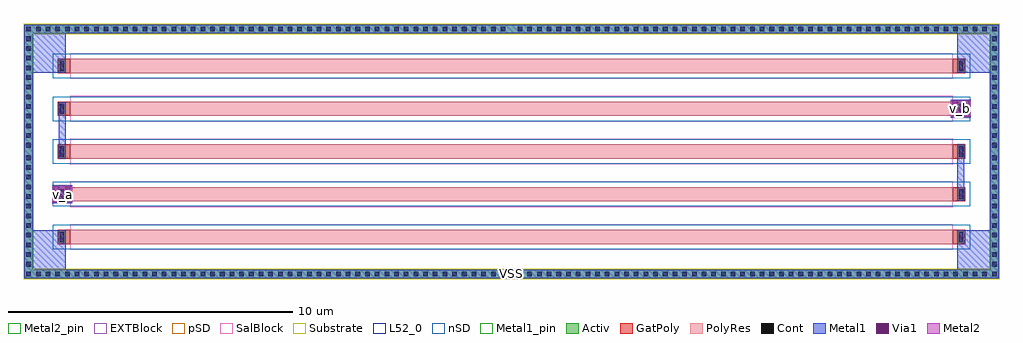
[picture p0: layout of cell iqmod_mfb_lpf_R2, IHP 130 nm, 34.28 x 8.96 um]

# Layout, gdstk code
from math import pi, radians
import gdstk
lib = gdstk.Library(unit=1e-6, precision=5e-09)
def R(c, l, rs):  # rectangles x0, y0, x1, y1
    for r in rs: c.add(gdstk.rectangle(r[:2], r[2:], *l))
def A(c, l, x, y, w, h, nx, ny, dx, dy):  # array of equal rectangles
    R(c, l, [(x+i*dx, y+j*dy, x+i*dx+w, y+j*dy+h) for i in range(nx) for j in range(ny)])
def P(c, l, *ps):  # polygons
    for p in ps: c.add(gdstk.Polygon(p, *l))
Activ = (1, 0)
GatPoly = (5, 0)
Cont = (6, 0)
nSD = (7, 0)
Metal1 = (8, 0)
Metal1_pin = (8, 2)
Metal2 = (10, 0)
Metal2_pin = (10, 2)
pSD = (14, 0)
Via1 = (19, 0)
SalBlock = (28, 0)
Substrate = (40, 0)
L52_0 = (52, 0)
EXTBlock = (111, 0)
PolyRes = (128, 0)

via_stack_1 = lib.new_cell('via_stack$1')
R(via_stack_1, Metal1, [(-0.35,-0.31,0.35,0.31)])
R(via_stack_1, Metal2, [(-0.35,-0.305,0.35,0.305)])
R(via_stack_1, Via1, [(-0.3,-0.3,-0.11,-0.11), (0.11,-0.3,0.3,-0.11), (-0.3,0.11,-0.11,0.3), (0.11,0.11,0.3,0.3)])

rhigh_3 = lib.new_cell('rhigh$3')
A(rhigh_3, GatPoly, 0, -0.43, 0.5, 0.43, 3, 2, 1.5, 31.43)
A(rhigh_3, Cont, 0.07, -0.36, 0.36, 0.16, 3, 2, 1.5, 31.56)
A(rhigh_3, nSD, -0.18, -0.61, 0.86, 0.79, 3, 2, 1.5, 31.43)
R(rhigh_3, nSD, [(-0.18,0,0.68,31), (-0.18,0,0.68,31), (1.32,0,2.18,31), (1.32,0,2.18,31), (2.82,0,3.68,31), (2.82,0,3.68,31)])
A(rhigh_3, Metal1, 0.02, -0.41, 0.46, 0.26, 3, 2, 1.5, 31.56)
R(rhigh_3, Metal1, [(1.52,-0.41,3.48,-0.15), (0.02,31.15,1.98,31.41)])
A(rhigh_3, Metal1_pin, 0.02, -0.41, 0.46, 0.26, 3, 2, 1.5, 31.56)
A(rhigh_3, pSD, -0.18, -0.61, 0.86, 0.79, 3, 2, 1.5, 31.43)
R(rhigh_3, pSD, [(-0.18,0,0.68,31), (-0.18,0,0.68,31), (1.32,0,2.18,31), (1.32,0,2.18,31), (2.82,0,3.68,31), (2.82,0,3.68,31)])
A(rhigh_3, SalBlock, -0.2, 0, 0.9, 31, 3, 1, 1.5, 0)
A(rhigh_3, L52_0, 0, 0, 0.5, 31, 3, 1, 1.5, 0)
A(rhigh_3, EXTBlock, -0.18, -0.61, 0.86, 0.79, 3, 2, 1.5, 31.43)
A(rhigh_3, EXTBlock, -0.2, 0, 0.9, 31, 3, 1, 1.5, 0)
A(rhigh_3, PolyRes, 0, 0, 0.5, 31, 3, 1, 1.5, 0)
rhigh_3.add(gdstk.Label('rhigh r=91972.174', (0.25,15.5), layer=63, texttype=0))
rhigh_3.add(gdstk.Label('rhigh r=91972.174', (0.25,15.5), layer=63, texttype=0))
rhigh_3.add(gdstk.Label('rhigh r=91972.174', (0.25,15.5), layer=63, texttype=0))
rhigh_3.add(gdstk.Label('rhigh', (0.25,15.5), layer=52, texttype=0))
rhigh_3.add(gdstk.Label('rhigh', (1.75,15.5), layer=52, texttype=0))
rhigh_3.add(gdstk.Label('rhigh', (3.25,15.5), layer=52, texttype=0))

rhigh_1 = lib.new_cell('rhigh$1')
R(rhigh_1, Activ, [(-1.2,-1.31,-0.9,32.31), (7.4,-1.31,7.7,32.31), (-1.2,32.31,7.7,32.61)])
P(rhigh_1, Activ, [(-1.2,-1.61),(-1.2,32.31),(-0.9,32.31),(-0.9,-1.31),(7.4,-1.31),(7.4,32.31),(-1.2,32.31),(-1.2,32.61),(7.7,32.61),(7.7,-1.61)])
R(rhigh_1, GatPoly, [(0,-0.43,0.5,0), (6,-0.43,6.5,0), (0,31,0.5,31.43), (6,31,6.5,31.43)])
A(rhigh_1, Cont, -1.13, -1.54, 0.16, 0.16, 13, 2, 0.34, 33.92)
A(rhigh_1, Cont, 3.39, -1.54, 0.16, 0.16, 13, 2, 0.34, 33.92)
A(rhigh_1, Cont, -1.13, -1.2, 0.16, 0.16, 1, 49, 0, 0.34)
A(rhigh_1, Cont, 7.47, -1.2, 0.16, 0.16, 1, 49, 0, 0.34)
A(rhigh_1, Cont, -1.13, 15.72, 0.16, 0.16, 1, 49, 0, 0.34)
A(rhigh_1, Cont, 7.47, 15.72, 0.16, 0.16, 1, 49, 0, 0.34)
R(rhigh_1, Cont, [(0.07,-0.36,0.43,-0.2), (6.07,-0.36,6.43,-0.2), (0.07,31.2,0.43,31.36), (6.07,31.2,6.43,31.36)])
R(rhigh_1, nSD, [(-0.18,-0.61,0.68,0.18), (5.82,-0.61,6.68,0.18), (-0.18,0,0.68,31), (-0.18,0,0.68,31), (5.82,0,6.68,31), (5.82,0,6.68,31), (-0.18,30.82,0.68,31.61), (5.82,30.82,6.68,31.61)])
R(rhigh_1, Metal1, [(-1.2,-1.61,7.7,-1.31), (-1.2,-1.31,-0.9,32.31), (7.4,-1.31,7.7,32.31), (0.02,-0.41,0.48,-0.15), (6.02,-0.41,6.48,-0.15), (0.02,31.15,0.48,31.41), (6.02,31.15,6.48,31.41), (-1.2,32.31,7.7,32.61)])
R(rhigh_1, Metal1_pin, [(0.02,-0.41,0.48,-0.15), (6.02,-0.41,6.48,-0.15), (0.02,31.15,0.48,31.41), (6.02,31.15,6.48,31.41)])
R(rhigh_1, pSD, [(-1.23,-1.28,-0.87,32.28), (7.37,-1.28,7.73,32.28), (-0.18,-0.61,0.68,0.18), (5.82,-0.61,6.68,0.18), (-0.18,0,0.68,31), (-0.18,0,0.68,31), (5.82,0,6.68,31), (5.82,0,6.68,31), (-0.18,30.82,0.68,31.61), (5.82,30.82,6.68,31.61), (-1.23,32.28,7.73,32.64)])
P(rhigh_1, pSD, [(-1.23,-1.64),(-1.23,32.28),(-0.87,32.28),(-0.87,-1.28),(7.37,-1.28),(7.37,32.28),(-1.23,32.28),(-1.23,32.64),(7.73,32.64),(7.73,-1.64)])
R(rhigh_1, SalBlock, [(-0.2,0,0.7,31), (5.8,0,6.7,31)])
R(rhigh_1, Substrate, [(-1.23,-1.28,-0.87,32.28), (7.37,-1.28,7.73,32.28), (-1.23,32.28,7.73,32.64)])
P(rhigh_1, Substrate, [(-1.23,-1.64),(-1.23,32.28),(-0.87,32.28),(-0.87,-1.28),(7.37,-1.28),(7.37,32.28),(-1.23,32.28),(-1.23,32.64),(7.73,32.64),(7.73,-1.64)])
R(rhigh_1, L52_0, [(0,0,0.5,31), (6,0,6.5,31)])
R(rhigh_1, EXTBlock, [(-0.18,-0.61,0.68,0.18), (5.82,-0.61,6.68,0.18), (-0.2,0,0.7,31), (5.8,0,6.7,31), (-0.18,30.82,0.68,31.61), (5.82,30.82,6.68,31.61)])
R(rhigh_1, PolyRes, [(0,0,0.5,31), (6,0,6.5,31)])
rhigh_1.add(gdstk.Label('rhigh r=91972.174', (0.25,15.5), layer=63, texttype=0))
rhigh_1.add(gdstk.Label('rhigh r=91972.174', (0.25,15.5), layer=63, texttype=0))
rhigh_1.add(gdstk.Label('sub!', (3.25,-1.46), layer=63, texttype=0))
rhigh_1.add(gdstk.Label('rhigh', (0.25,15.5), layer=52, texttype=0))
rhigh_1.add(gdstk.Label('rhigh', (6.25,15.5), layer=52, texttype=0))

iqmod_mfb_lpf_r2 = lib.new_cell('iqmod_mfb_lpf_R2')
R(iqmod_mfb_lpf_r2, Metal1, [(0.03,0.03,1.49,1.71), (16.98,0.03,17.3,0.33), (32.79,0.03,34.25,1.71), (0.03,7.25,1.49,8.93), (32.79,7.25,34.25,8.93)])
R(iqmod_mfb_lpf_r2, Metal1_pin, [(17.015,0.055,17.265,0.305)])
R(iqmod_mfb_lpf_r2, Metal2_pin, [(1.25,2.87,1.47,3.09), (32.81,5.87,33.03,6.09)])
iqmod_mfb_lpf_r2.add(gdstk.Reference(via_stack_1, (1.36,2.98), x_reflection=True))
iqmod_mfb_lpf_r2.add(gdstk.Reference(rhigh_3, (1.64,2.73), rotation=pi/2, x_reflection=True))
iqmod_mfb_lpf_r2.add(gdstk.Reference(via_stack_1, (32.92,5.98), x_reflection=True))
iqmod_mfb_lpf_r2.add(gdstk.Reference(rhigh_1, (1.64,1.23), rotation=pi/2, x_reflection=True))
iqmod_mfb_lpf_r2.add(gdstk.Label('VSS', (17.14,0.18), layer=8, texttype=25))
iqmod_mfb_lpf_r2.add(gdstk.Label('v_b', (32.92,5.98), layer=10, texttype=25))
iqmod_mfb_lpf_r2.add(gdstk.Label('v_a', (1.36,2.98), layer=10, texttype=25))

lib.write_gds('iqmod_mfb_lpf_R2.gds')
